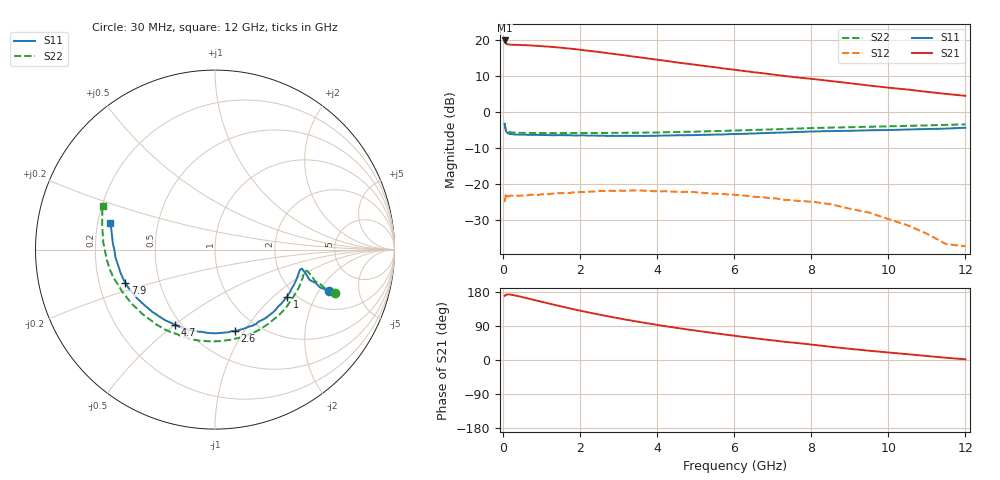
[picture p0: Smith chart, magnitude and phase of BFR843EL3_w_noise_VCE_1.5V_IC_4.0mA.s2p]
! Infineon Technologies  Discrete & RF Semiconductors
! BFR843EL3
! VCE =  1.5 V,  IC =  4.0 mA
! Common Emitter S-Parameters:  Aug 2013
# GHz  S  MA  R  50
!  f  S11  S21  S12  S22
! GHz  MAG  ANG  MAG  ANG  MAG  ANG  MAG  ANG
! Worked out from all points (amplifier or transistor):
!   103 points, 30 MHz to 12 GHz, reference 50 ohm
!   highest |S21| = 19.9 dB at 30 MHz (marker M1)
!   |S21| within 3 dB of that: start of sweep to 2.322 GHz
!   unconditionally stable (mu >= 1): 6.809 GHz to end of sweep
!   at 400 MHz: K = 1.00, MSG = 21.0 dB, |S12| = -23.3 dB
!   at 3.7 GHz: K = 0.76, MSG = 18.5 dB, |S12| = -21.9 dB
!   at 12 GHz: K = 7.29, MAG = 9.3 dB, |S12| = -37.3 dB
!   lowest NFmin = 0.92 dB at 900 MHz
!   S11 on the Smith chart (normalised r, x): 30 MHz: 2.90, -2.48; 1 GHz: 1.81, -1.23; 2.6 GHz: 0.78, -0.91; 4.7 GHz: 0.47, -0.50; 7.9 GHz: 0.31, -0.16; 12 GHz: 0.25, +0.12
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0.03  0.6758 -20.1  9.878 169.3  0.056 35.4  0.7093 -19.7
0.04  0.6197 -19.7  9.477 169.9  0.0599 27.8  0.6489 -19.3
0.06  0.5531 -17.8  9.036 171.3  0.0699 21.0  0.5826 -17.4
0.08  0.5297 -15.4  8.838 172.4  0.0676 14.5  0.5562 -15.4
0.15  0.4989 -12.5  8.641 173.0  0.0681 7.7  0.5272 -13.0
0.2  0.4928 -12.5  8.625 172.4  0.0687 6.7  0.5203 -13.2
0.7  0.481 -24.5  8.436 160.9  0.0707 3.4  0.5109 -27.7
1  0.4791 -33.1  8.211 153.4  0.0718 2.9  0.5104 -38.0
1.5  0.4759 -47.8  7.832 141.4  0.0744 1.9  0.509 -54.4
1.9  0.4694 -58.6  7.436 132.2  0.0759 0.3  0.5114 -66.4
2.1  0.4724 -64.0  7.212 127.9  0.0768 -0.3  0.5091 -72.6
2.6  0.4684 -76.4  6.694 117.6  0.0795 -3.4  0.5106 -85.7
3.3  0.4655 -91.7  5.975 104.4  0.0807 -8.4  0.5147 -102.2
4.1  0.4684 -106.9  5.245 90.9  0.0787 -12.9  0.5216 -117.7
4.7  0.4737 -117.7  4.74 81.8  0.0774 -17.2  0.5302 -128.4
5.4  0.483 -127.9  4.247 71.9  0.0727 -21.3  0.5415 -138.7
6.1  0.4947 -137.6  3.805 62.7  0.0698 -26.3  0.5542 -148.1
6.8  0.5087 -146.5  3.423 54.0  0.0647 -29.9  0.5697 -156.5
7.9  0.5329 -159.4  2.921 41.9  0.0568 -34.3  0.5948 -168.6
8.5  0.5421 -166.1  2.695 34.9  0.0521 -39.1  0.6057 -174.8
10.5  0.5705 176.4  2.05 15.3  0.0265 -44.4  0.6416 168.5
12  0.604 165.7  1.677 1.8  0.0136 -5.2  0.6729 158.6
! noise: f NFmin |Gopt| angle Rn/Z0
0.45  0.93  0.24  7  0.2
0.9  0.92  0.24  22  0.19
1.5  0.96  0.25  37  0.17
1.9  0.98  0.25  41  0.17
2.4  1.01  0.26  53  0.16
3.5  1.07  0.26  74  0.15
5.5  1.16  0.29  111  0.12
8  1.28  0.36  152  0.08
10  1.37  0.43  202  0.05
